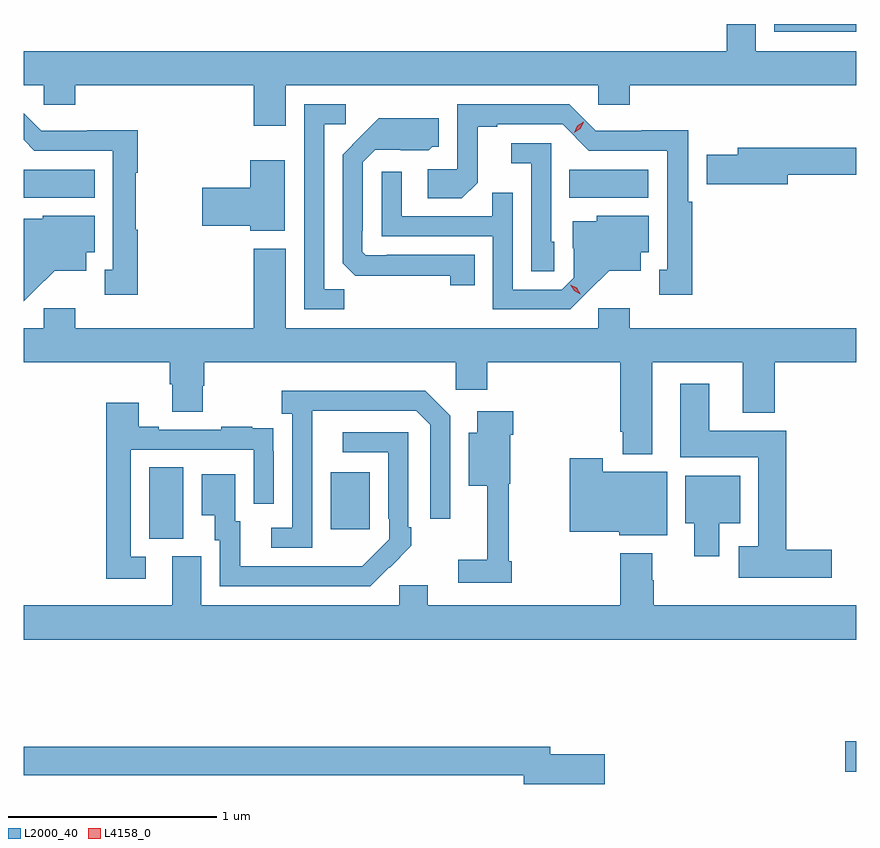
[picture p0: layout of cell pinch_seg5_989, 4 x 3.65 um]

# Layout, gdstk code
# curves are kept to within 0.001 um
import gdstk
lib = gdstk.Library(unit=1e-6, precision=1e-09)
def R(c, l, rs):  # rectangles x0, y0, x1, y1
    for r in rs: c.add(gdstk.rectangle(r[:2], r[2:], *l))
def P(c, l, *ps):  # polygons
    for p in ps: c.add(gdstk.Polygon(p, *l))
L2000_40 = (2000, 40)
L4158_0 = (4158, 0)

pinch_seg5_989 = lib.new_cell('pinch_seg5_989')
R(pinch_seg5_989, L2000_40, [(739.206,840.14,739.258,840.287), (735.86,841.261,736.024,841.604), (736.733,841.305,736.921,841.579), (735.258,842.9,735.598,843.034), (737.878,842.9,738.259,843.034), (738.864,843.696,739.258,843.734), (738.319,843.732,738.508,843.734)])
P(pinch_seg5_989, L2000_40, [(736.516,843.44),(738.018,843.44),(738.018,843.347),(738.17,843.347),(738.17,843.44),(739.258,843.44),(739.258,843.604),(738.775,843.604),(738.775,843.734),(738.635,843.734),(738.635,843.604),(735.258,843.604),(735.258,843.44),(735.354,843.44),(735.354,843.347),(735.506,843.347),(735.506,843.44),(736.364,843.44),(736.364,843.246),(736.516,843.246)],
  [(736.797,842.459),(736.701,842.459),(736.701,843.252),(736.804,843.252),(736.804,843.348),(736.605,843.348),(736.605,842.364),(736.797,842.364)],
  [(738.469,842.879),(738.451,842.879),(738.451,843.224),(738.228,843.224),(738.228,843.222),(738.006,843.222),(737.88,843.348),(737.34,843.348),(737.34,843.036),(737.199,843.036),(737.199,842.896),(737.363,842.896),(737.439,842.972),(737.439,843.24),(737.533,843.24),(737.533,843.252),(737.847,843.252),(737.973,843.126),(738.35,843.126),(738.35,842.553),(738.311,842.553),(738.311,842.433),(738.469,842.433)],
  [(735.805,842.745),(735.797,842.745),(735.797,843.019),(735.805,843.019),(735.805,843.224),(735.564,843.224),(735.564,843.222),(735.342,843.222),(735.258,843.306),(735.258,843.177),(735.309,843.126),(735.686,843.126),(735.686,842.553),(735.647,842.553),(735.647,842.433),(735.805,842.433)],
  [(737.426,842.625),(737.002,842.625),(737.002,842.622),(736.902,842.622),(736.884,842.64),(736.884,842.74),(736.887,842.74),(736.887,843.069),(736.947,843.129),(737.204,843.128),(737.22,843.144),(737.251,843.144),(737.251,843.28),(736.963,843.28),(736.791,843.106),(736.791,842.584),(736.85,842.525),(737.308,842.524),(737.308,842.478),(737.426,842.478)],
  [(737.808,842.688),(737.793,842.688),(737.793,843.162),(737.601,843.162),(737.601,843.065),(737.697,843.065),(737.697,842.545),(737.808,842.545)],
  [(738.928,843.01),(739.258,843.01),(739.258,843.139),(738.689,843.139),(738.689,843.105),(738.54,843.105),(738.54,842.963),(738.928,842.963)],
  [(736.513,843.079),(736.346,843.079),(736.346,842.948),(736.116,842.948),(736.116,842.765),(736.346,842.765),(736.346,842.741),(736.513,842.741)],
  [(737.968,842.447),(738.071,842.549),(738.223,842.549),(738.223,842.636),(738.262,842.636),(738.262,842.812),(738.012,842.812),(738.012,842.785),(737.897,842.785),(737.897,842.656),(737.901,842.656),(737.901,842.514),(737.844,842.457),(737.607,842.457),(737.607,842.924),(737.509,842.924),(737.509,842.811),(737.073,842.811),(737.073,843.025),(736.977,843.025),(736.977,842.715),(737.511,842.715),(737.511,842.364),(737.884,842.364)],
  [(735.304,842.447),(735.407,842.549),(735.559,842.549),(735.559,842.636),(735.598,842.636),(735.598,842.812),(735.348,842.812),(735.348,842.797),(735.258,842.797),(735.258,842.402)],
  [(735.959,842.002),(735.971,842.002),(735.971,841.87),(736.119,841.87),(736.119,841.995),(736.124,841.995),(736.124,842.108),(737.334,842.108),(737.334,841.977),(737.486,841.977),(737.486,842.108),(738.125,842.108),(738.125,841.774),(738.137,841.774),(738.137,841.667),(738.277,841.667),(738.277,842.108),(738.713,842.108),(738.713,841.865),(738.866,841.865),(738.866,842.108),(739.258,842.108),(739.258,842.272),(738.17,842.272),(738.17,842.368),(738.018,842.368),(738.018,842.272),(736.516,842.272),(736.516,842.653),(736.364,842.653),(736.364,842.272),(735.506,842.272),(735.506,842.368),(735.354,842.368),(735.354,842.272),(735.258,842.272),(735.258,842.108),(735.959,842.108)],
  [(739.141,841.208),(738.923,841.208),(738.923,841.78),(738.553,841.78),(738.553,842.005),(738.413,842.005),(738.413,841.652),(738.788,841.652),(738.788,841.225),(738.693,841.225),(738.693,841.073),(739.141,841.073)],
  [(736.644,841.675),(736.645,841.875),(737.145,841.875),(737.211,841.809),(737.211,841.356),(737.307,841.356),(737.307,841.851),(737.186,841.972),(736.497,841.972),(736.497,841.862),(736.548,841.862),(736.548,841.314),(736.446,841.314),(736.446,841.218),(736.644,841.218)],
  [(735.844,841.173),(735.771,841.173),(735.771,841.689),(736.362,841.689),(736.362,841.428),(736.458,841.428),(736.458,841.682),(736.457,841.682),(736.457,841.791),(736.355,841.791),(736.355,841.798),(736.207,841.798),(736.207,841.785),(735.907,841.785),(735.907,841.798),(735.811,841.798),(735.811,841.915),(735.655,841.915),(735.655,841.068),(735.844,841.068)],
  [(737.603,841.153),(737.588,841.153),(737.588,841.524),(737.596,841.524),(737.596,841.76),(737.609,841.76),(737.609,841.873),(737.438,841.873),(737.438,841.771),(737.396,841.771),(737.396,841.514),(737.486,841.514),(737.486,841.159),(737.346,841.159),(737.346,841.05),(737.603,841.05)],
  [(737.015,841.123),(737.016,841.122),(737.121,841.227),(737.121,841.315),(737.106,841.315),(737.106,841.773),(736.791,841.773),(736.791,841.677),(737.01,841.677),(737.01,841.357),(737.013,841.357),(737.013,841.257),(736.885,841.129),(736.297,841.128),(736.297,841.344),(736.273,841.344),(736.273,841.57),(736.112,841.57),(736.112,841.373),(736.175,841.373),(736.175,841.254),(736.2,841.254),(736.2,841.032),(736.924,841.032)],
  [(738.349,841.582),(738.04,841.582),(738.04,841.648),(737.882,841.648),(737.882,841.295),(738.12,841.295),(738.12,841.277),(738.349,841.277)],
  [(738.601,841.334),(738.7,841.334),(738.7,841.564),(738.437,841.564),(738.437,841.334),(738.479,841.334),(738.479,841.176),(738.601,841.176)],
  [(739.258,840.94),(738.285,840.94),(738.285,841.061),(738.277,841.061),(738.277,841.192),(738.125,841.192),(738.125,840.94),(737.2,840.94),(737.2,841.038),(737.061,841.038),(737.061,840.94),(736.111,840.94),(736.111,841.176),(735.971,841.176),(735.971,840.94),(735.258,840.94),(735.258,840.776),(739.258,840.776)],
  [(738.049,840.224),(737.788,840.224),(737.788,840.26),(735.258,840.26),(735.258,840.124),(737.66,840.124),(737.66,840.082),(738.049,840.082)])
P(pinch_seg5_989, L4158_0, [(737.933,842.436),(737.902,842.451),(737.884,842.48),(737.884,842.481),(737.885,842.481),(737.916,842.466),(737.933,842.437),(737.933,842.436)],
  [(737.902,843.211),(737.902,843.211),(737.918,843.244),(737.949,843.264),(737.949,843.264),(737.949,843.263),(737.933,843.231),(737.902,843.211)])

lib.write_gds('pinch_seg5_989.gds')
